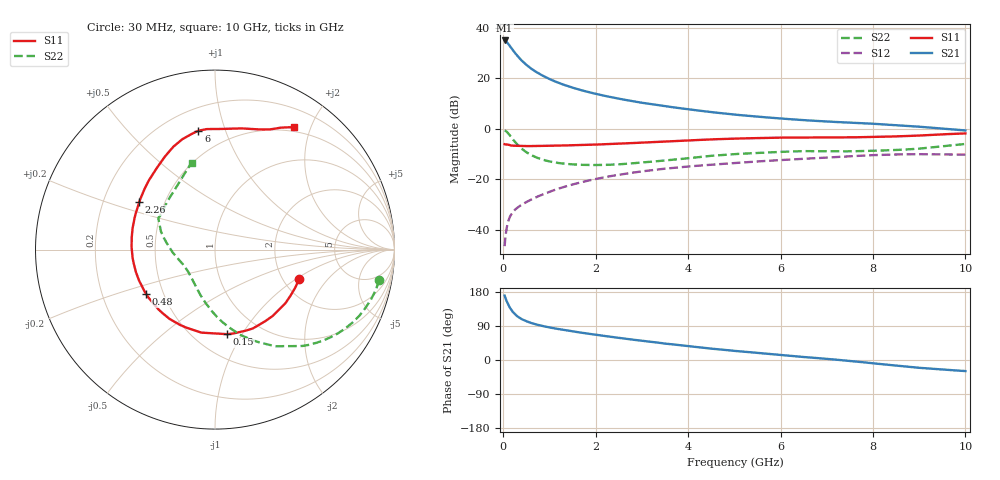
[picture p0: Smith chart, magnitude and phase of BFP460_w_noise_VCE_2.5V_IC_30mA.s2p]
! (c) 2016  Infineon Technologies AG, Munich
! Infineon Technologies  Discrete & RF Semiconductors
! BFP460
! VCE =  2.5 V,  IC =  30 mA
! Common Emitter S-Parameters:  Jan 2016
# GHz  S  MA  R  50
!  f  S11  S21  S12  S22
! GHz  MAG  ANG  MAG  ANG  MAG  ANG  MAG  ANG
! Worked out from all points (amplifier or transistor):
!   229 points, 30 MHz to 10 GHz, reference 50 ohm
!   highest |S21| = 34.9 dB at 30 MHz (marker M1)
!   |S21| within 3 dB of that: start of sweep to 175.7 MHz
!   unconditionally stable (mu >= 1): 1.479 GHz to 7.703 GHz
!   at 280 MHz: K = 0.52, MSG = 30.5 dB, |S12| = -31.6 dB
!   at 1.78 GHz: K = 1.02, MAG = 17.0 dB, |S12| = -20.7 dB
!   at 10 GHz: K = 0.98, MSG = 4.8 dB, |S12| = -10.2 dB
!   lowest NFmin = 1.47 dB at 450 MHz
!   S11 on the Smith chart (normalised r, x): 30 MHz: 2.44, -1.07; 150 MHz: 0.71, -0.86; 480 MHz: 0.40, -0.25; 2.26 GHz: 0.36, +0.25; 6 GHz: 0.34, +0.81; 10 GHz: 0.44, +1.75
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0.03  0.4973 -19.3  55.66 170.0  0.0048 84.9  0.9309 -10.5
0.05  0.4928 -31.5  53.96 162.7  0.0076 80.1  0.9124 -17.8
0.07  0.4889 -43.9  52.36 156.5  0.0104 75.2  0.8839 -24.8
0.09  0.4873 -54.9  50.01 151.0  0.0128 71.3  0.8474 -31.3
0.12  0.483 -69.3  46.24 143.4  0.016 66.8  0.7879 -40.0
0.15  0.4757 -82.0  42.42 136.7  0.0187 63.1  0.7269 -47.6
0.2  0.4688 -99.4  36.77 127.9  0.0222 59.2  0.6345 -58.1
0.26  0.4627 -114.9  31.17 120.1  0.0255 57.0  0.5442 -67.8
0.3  0.4617 -123.2  28.07 115.7  0.0273 56.1  0.495 -73.5
0.4  0.4566 -138.6  22.3 107.8  0.0316 55.6  0.4049 -84.3
0.48  0.4562 -147.4  19.08 103.3  0.0349 56.2  0.3559 -91.0
0.7  0.4581 -164.1  13.5 94.2  0.044 58.0  0.2755 -105.5
0.9  0.4613 -174.1  10.65 88.4  0.0526 59.2  0.2386 -115.1
1.2  0.4665 174.8  8.074 81.5  0.0659 59.7  0.2108 -126.3
1.7  0.479 160.8  5.755 71.9  0.0884 58.3  0.1942 -139.6
2.26  0.4988 147.8  4.358 62.4  0.1134 54.8  0.1944 -152.3
3.4  0.5527 127.0  2.886 45.0  0.1592 45.4  0.2322 -174.7
5.1  0.6441 105.5  1.874 23.1  0.2136 32.1  0.32 160.7
6  0.6691 97.9  1.599 13.2  0.2417 25.3  0.3505 153.3
6.8  0.6716 91.0  1.427 5.0  0.2639 19.5  0.3606 149.6
8.4  0.704 72.4  1.195 -13.5  0.3102 5.1  0.3783 133.9
10  0.8105 57.3  0.928 -29.2  0.3089 -7.5  0.5019 105.0
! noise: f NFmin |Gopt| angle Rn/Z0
0.45  1.47  0.19  -172  0.12
0.9  1.49  0.17  -164  0.13
1.9  1.61  0.28  -144  0.13
3.5  1.51  0.49  -120  0.18
